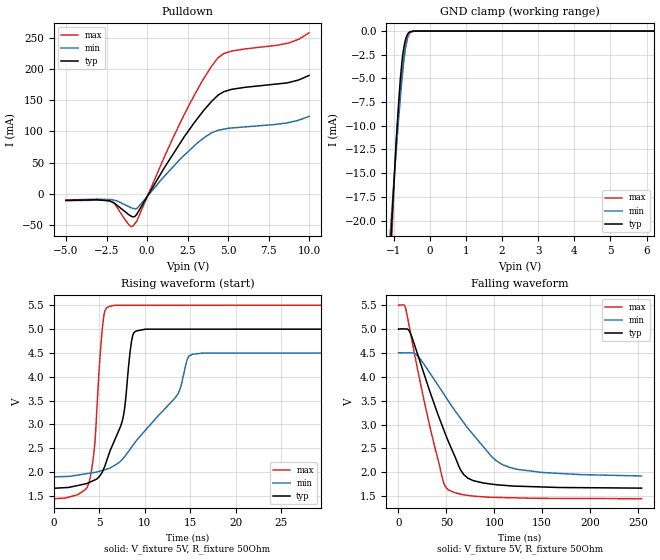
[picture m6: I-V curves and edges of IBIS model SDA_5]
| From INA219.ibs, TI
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|   5V SDA I/O_Open_drain Model
[Model] SDA_5   |Rload = 1k
Model_type I/O_open_drain
| Signals  SDA
Polarity   Non-Inverting
Enable   Active-Low
Vinl = 1.5
Vinh = 3.5
Vmeas = 2.5
Vref = 2.5
Cref = 0pF
Rref = 50
|   typ   min   max
|Average
C_comp   1.6449541E-10   1.4911062E-10   2.4476750E-10
|ON state
|C_comp   2.1193190e-12   2.3639330e-12   1.8543070e-12
|OFF state
|C_comp   3.2687150e-10   2.9585730e-10   4.8768070e-10
[Voltage Range]   5   4.5   5.5
[Temperature Range]   27   85   -25
[Pullup Reference]   5   4.5   5.5
[Pulldown Reference]   -0   -0   -0
[Power Clamp Reference]   5   4.5   5.5
[GND Clamp Reference]   0   0   0
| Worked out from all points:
|   slope of the pulldown table from 0 to 0.75 V, typ, clamps not added: 22.8 ohm
|   GND clamp passes 1 mA (typ) near -0.67 V on its own axis
|   falling waveform, V_fixture 5V, R_fixture 50Ohm: 20-80 % time 36.6ns typ, 56.7ns min, 26.7ns max; typ from 5 V to 1.67 V
|   rising waveform, V_fixture 5V, R_fixture 50Ohm: 20-80 % time 2.3ns typ, 6.03ns min, 880ps max; typ from 1.67 V to 5 V
[Pulldown]
|   Voltage   I(typ)   I(min)   I(max)
-5V       -10.74mA   -10.08mA   -11.25mA
-2.205V   -12.75mA   -9.515mA   -12.54mA
-1.135V   -33.53mA   -20.68mA   -49.43mA
-893mV    -37.08mA   -23.46mA   -52.51mA
-584.9mV  -30.72mA   -22.76mA   -40.99mA
1.052V    41.16mA    27.59mA    58.28mA
2.269V    90.44mA    61.22mA    125.9mA
3.402V    130.6mA    87.5mA     180.8mA
4.333V    157mA      101.2mA    216.9mA
5.235V    167.5mA    105.4mA    228.9mA
8.747V    178.4mA    114.2mA    241.9mA
9.985V    189.7mA    124mA      258mA
[GND Clamp]
|   Voltage   I(typ)   I(min)   I(max)
-5V       -333.3mA   -246mA     -478.3mA
-1.088V   -22.99mA   -21.11mA   -25.81mA
-1.049V   -20.18mA   -19.06mA   -21.96mA
-1.036V   -19.23mA   -18.37mA   -20.72mA
-964.5mV  -14.26mA   -14.58mA   -14.51mA
-903.9mV  -10.24mA   -11.51mA   -10.47mA
-816.8mV  -5.306mA   -7.296mA   -6.481mA
-764.9mV  -3.145mA   -5.033mA   -4.598mA
-676mV    -1.022mA   -1.839mA   -1.97mA
-613.5mV  -347.2uA   -588.3uA   -784.5uA
-547.5mV  -76.59uA   -122.3uA   -198.2uA
9.985V    0A         0A         0A
[POWER Clamp]
|   SCR cell for ESD function. Effects occurr above VDD x 2
|   Voltage   I(typ)   I(min)   I(max)
-5V       0A         0A         0A
0V        0A         0A         0A
10V       0A         0A         0A
[Ramp]
R_load = 50
|   typ   min   max
dV/dt_r   2.0006/2.30868e-009   1.55708/6.0357e-009   2.4316/8.74898e-010
dV/dt_f   1.99852/3.66305e-008   1.54604/5.66826e-008   2.43124/2.66697e-008
[Falling Waveform]
V_fixture = 5V
V_fixture_min = 4.5V
V_fixture_max = 5.5V
R_fixture = 50Ohm
C_fixture = 0F
|   Time   V(typ)   V(min)   V(max)
0s        5V         4.5V       5.5V
7.347ns   5V         4.499V     5.439V
13.65ns   4.846V     4.498V     4.799V
33.21ns   3.665V     4.066V     2.917V
46.42ns   2.933V     3.664V     1.828V
51.5ns    2.672V     3.51V      1.642V
72.6ns    1.876V     2.918V     1.517V
96.92ns   1.754V     2.336V     1.477V
115.7ns   1.719V     2.104V     1.468V
253.7ns   1.669V     1.923V     1.448V
[Rising Waveform]
V_fixture = 5V
V_fixture_min = 4.5V
V_fixture_max = 5.5V
R_fixture = 50Ohm
C_fixture = 0F
|   Time   V(typ)   V(min)   V(max)
0s        1.666V     1.905V     1.447V
3.828ns   1.781V     1.978V     1.759V
4.499ns   1.839V     1.998V     2.595V
5.49ns    2.076V     2.047V     5.268V
6.724ns   2.69V      2.152V     5.492V
7.641ns   3.176V     2.298V     5.492V
8.675ns   4.868V     2.56V      5.492V
10.04ns   4.993V     2.876V     5.492V
16.33ns   4.993V     4.492V     5.493V
253.7ns   5V         4.5V       5.5V
